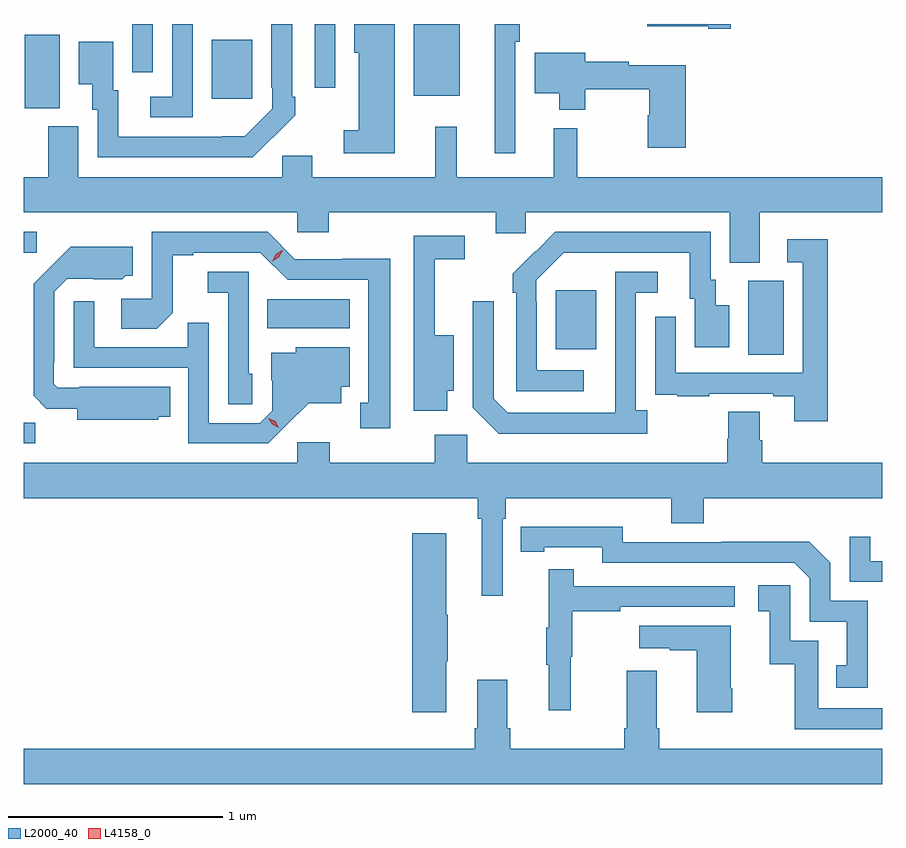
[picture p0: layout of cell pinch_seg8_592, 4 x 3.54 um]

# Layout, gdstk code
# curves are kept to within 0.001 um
import gdstk
lib = gdstk.Library(unit=1e-6, precision=1e-09)
def R(c, l, rs):  # rectangles x0, y0, x1, y1
    for r in rs: c.add(gdstk.rectangle(r[:2], r[2:], *l))
def P(c, l, *ps):  # polygons
    for p in ps: c.add(gdstk.Polygon(p, *l))
L2000_40 = (2000, 40)
L4158_0 = (4158, 0)

pinch_seg8_592 = lib.new_cell('pinch_seg8_592')
R(pinch_seg8_592, L2000_40, [(120.916,1100.772,120.969,1100.867), (124.292,1101.184,124.456,1101.528), (123.395,1101.209,123.583,1101.484), (122.05,1101.308,122.434,1101.442), (120.916,1101.66,120.976,1101.756), (120.92,1102.333,121.084,1102.676), (121.793,1102.377,121.981,1102.651), (122.732,1102.391,122.947,1102.725), (122.271,1102.428,122.367,1102.725), (121.422,1102.5,121.518,1102.725)])
P(pinch_seg8_592, L2000_40, [(124.21,1102.725),(123.822,1102.725),(123.822,1102.715),(124.106,1102.715),(124.106,1102.703),(124.21,1102.703)],
  [(123.207,1102.643),(123.227,1102.643),(123.227,1102.725),(123.11,1102.725),(123.11,1102.122),(123.207,1102.122)],
  [(122.075,1102.195),(122.076,1102.194),(122.181,1102.299),(122.181,1102.387),(122.166,1102.387),(122.166,1102.725),(122.07,1102.725),(122.07,1102.429),(122.073,1102.429),(122.073,1102.329),(121.945,1102.201),(121.357,1102.2),(121.357,1102.416),(121.333,1102.416),(121.333,1102.642),(121.172,1102.642),(121.172,1102.445),(121.235,1102.445),(121.235,1102.326),(121.26,1102.326),(121.26,1102.104),(121.984,1102.104)],
  [(121.704,1102.725),(121.608,1102.725),(121.608,1102.386),(121.506,1102.386),(121.506,1102.29),(121.704,1102.29)],
  [(122.644,1102.725),(122.456,1102.725),(122.456,1102.59),(122.477,1102.59),(122.477,1102.231),(122.406,1102.231),(122.406,1102.122),(122.644,1102.122)],
  [(124.001,1102.532),(123.734,1102.532),(123.734,1102.55),(123.532,1102.55),(123.532,1102.591),(123.296,1102.591),(123.296,1102.403),(123.41,1102.403),(123.41,1102.325),(123.532,1102.325),(123.532,1102.422),(123.83,1102.422),(123.83,1102.299),(123.823,1102.299),(123.823,1102.149),(124.001,1102.149)],
  [(124.345,1101.848),(124.916,1101.848),(124.916,1102.012),(123.496,1102.012),(123.496,1102.24),(123.386,1102.24),(123.386,1102.012),(122.933,1102.012),(122.933,1102.246),(122.834,1102.246),(122.834,1102.012),(122.26,1102.012),(122.26,1102.11),(122.121,1102.11),(122.121,1102.012),(121.171,1102.012),(121.171,1102.248),(121.031,1102.248),(121.031,1102.012),(120.916,1102.012),(120.916,1101.848),(122.19,1101.848),(122.19,1101.755),(122.337,1101.755),(122.337,1101.848),(123.116,1101.848),(123.116,1101.75),(123.255,1101.75),(123.255,1101.848),(124.205,1101.848),(124.205,1101.613),(124.345,1101.613)],
  [(122.623,1101.632),(122.4,1101.632),(122.4,1101.63),(122.178,1101.63),(122.052,1101.756),(121.512,1101.756),(121.512,1101.444),(121.371,1101.444),(121.371,1101.304),(121.535,1101.304),(121.611,1101.38),(121.611,1101.648),(121.705,1101.648),(121.705,1101.66),(122.019,1101.66),(122.145,1101.534),(122.522,1101.534),(122.522,1100.961),(122.483,1100.961),(122.483,1100.841),(122.623,1100.841)],
  [(123.526,1101.111),(123.306,1101.111),(123.306,1101.431),(123.303,1101.431),(123.303,1101.531),(123.432,1101.66),(124.019,1101.66),(124.019,1101.444),(124.043,1101.444),(124.043,1101.219),(124.204,1101.219),(124.204,1101.415),(124.141,1101.415),(124.141,1101.534),(124.116,1101.534),(124.116,1101.756),(123.392,1101.756),(123.195,1101.561),(123.195,1101.473),(123.21,1101.473),(123.21,1101.015),(123.526,1101.015)],
  [(122.89,1101.017),(122.92,1101.017),(122.92,1101.274),(122.831,1101.274),(122.831,1101.63),(122.971,1101.63),(122.971,1101.738),(122.733,1101.738),(122.733,1101.17),(122.732,1101.17),(122.732,1100.922),(122.89,1100.922)],
  [(124.661,1101.721),(124.473,1101.721),(124.473,1101.615),(124.545,1101.615),(124.545,1101.099),(123.954,1101.099),(123.954,1101.361),(123.858,1101.361),(123.858,1101.106),(123.859,1101.106),(123.859,1100.997),(123.961,1100.997),(123.961,1100.991),(124.109,1100.991),(124.109,1101.003),(124.409,1101.003),(124.409,1100.991),(124.505,1100.991),(124.505,1100.874),(124.661,1100.874)],
  [(121.542,1100.894),(121.598,1100.894),(121.598,1101.034),(121.174,1101.034),(121.174,1101.03),(121.074,1101.03),(121.056,1101.048),(121.056,1101.148),(121.059,1101.148),(121.059,1101.477),(121.119,1101.537),(121.376,1101.536),(121.392,1101.552),(121.423,1101.552),(121.423,1101.688),(121.135,1101.688),(120.963,1101.514),(120.963,1100.992),(121.022,1100.933),(121.166,1100.933),(121.166,1100.882),(121.542,1100.882)],
  [(121.98,1101.096),(121.965,1101.096),(121.965,1101.57),(121.773,1101.57),(121.773,1101.473),(121.869,1101.473),(121.869,1100.953),(121.98,1100.953)],
  [(123.82,1100.926),(123.768,1100.926),(123.768,1101.474),(123.871,1101.474),(123.871,1101.57),(123.672,1101.57),(123.671,1100.913),(123.171,1100.913),(123.105,1100.979),(123.105,1101.433),(123.009,1101.433),(123.009,1100.937),(123.13,1100.816),(123.82,1100.816)],
  [(122.14,1100.855),(122.243,1100.957),(122.395,1100.957),(122.395,1101.036),(122.434,1101.036),(122.434,1101.22),(122.184,1101.22),(122.184,1101.193),(122.069,1101.193),(122.069,1101.064),(122.073,1101.064),(122.073,1100.922),(122.016,1100.865),(121.779,1100.865),(121.779,1101.332),(121.681,1101.332),(121.681,1101.219),(121.245,1101.219),(121.245,1101.433),(121.149,1101.433),(121.149,1101.123),(121.683,1101.123),(121.683,1100.772),(122.056,1100.772)],
  [(122.982,1100.812),(122.831,1100.812),(122.831,1100.68),(122.342,1100.68),(122.342,1100.776),(122.19,1100.776),(122.19,1100.68),(120.916,1100.68),(120.916,1100.516),(123.031,1100.516),(123.031,1100.42),(123.05,1100.42),(123.05,1100.061),(123.147,1100.061),(123.147,1100.42),(123.161,1100.42),(123.161,1100.516),(123.932,1100.516),(123.932,1100.399),(124.085,1100.399),(124.085,1100.516),(124.916,1100.516),(124.916,1100.68),(124.358,1100.68),(124.358,1100.786),(124.345,1100.786),(124.345,1100.918),(124.198,1100.918),(124.198,1100.793),(124.193,1100.793),(124.193,1100.68),(122.982,1100.68)],
  [(124.848,1100.037),(124.674,1100.037),(124.674,1100.214),(124.576,1100.312),(124.168,1100.312),(124.168,1100.31),(123.708,1100.31),(123.708,1100.383),(123.232,1100.382),(123.232,1100.266),(123.34,1100.266),(123.34,1100.286),(123.612,1100.286),(123.612,1100.214),(124.506,1100.214),(124.578,1100.142),(124.578,1099.941),(124.751,1099.941),(124.751,1099.737),(124.702,1099.737),(124.702,1099.632),(124.848,1099.632)],
  [(122.884,1099.756),(122.892,1099.756),(122.892,1099.973),(122.884,1099.973),(122.884,1100.353),(122.726,1100.353),(122.726,1099.518),(122.884,1099.518)],
  [(124.916,1100.223),(124.861,1100.223),(124.861,1100.335),(124.764,1100.335),(124.764,1100.127),(124.916,1100.127)],
  [(123.464,1099.776),(123.472,1099.776),(123.472,1099.99),(123.695,1099.99),(123.695,1100.01),(124.228,1100.01),(124.228,1100.106),(123.479,1100.106),(123.479,1100.185),(123.362,1100.185),(123.362,1099.913),(123.351,1099.913),(123.351,1099.739),(123.362,1099.739),(123.362,1099.527),(123.464,1099.527)],
  [(124.916,1099.536),(124.617,1099.536),(124.617,1099.851),(124.488,1099.851),(124.488,1100.11),(124.338,1100.11),(124.338,1099.989),(124.391,1099.989),(124.391,1099.743),(124.509,1099.743),(124.509,1099.44),(124.916,1099.44)],
  [(124.218,1099.63),(124.21,1099.63),(124.21,1099.921),(123.783,1099.921),(123.783,1099.817),(123.926,1099.817),(123.926,1099.807),(124.052,1099.807),(124.052,1099.518),(124.218,1099.518)],
  [(124.916,1099.348),(123.878,1099.348),(123.878,1099.444),(123.865,1099.444),(123.865,1099.711),(123.725,1099.711),(123.725,1099.444),(123.713,1099.444),(123.713,1099.348),(123.182,1099.348),(123.182,1099.444),(123.169,1099.444),(123.169,1099.669),(123.029,1099.669),(123.029,1099.444),(123.017,1099.444),(123.017,1099.348),(120.916,1099.348),(120.916,1099.184),(124.916,1099.184)])
P(pinch_seg8_592, L4158_0, [(122.073,1101.619),(122.073,1101.62),(122.09,1101.652),(122.121,1101.672),(122.122,1101.672),(122.122,1101.671),(122.105,1101.639),(122.074,1101.619)],
  [(122.104,1100.844),(122.074,1100.859),(122.056,1100.888),(122.056,1100.888),(122.056,1100.888),(122.087,1100.874),(122.104,1100.844),(122.104,1100.844)])

lib.write_gds('pinch_seg8_592.gds')
